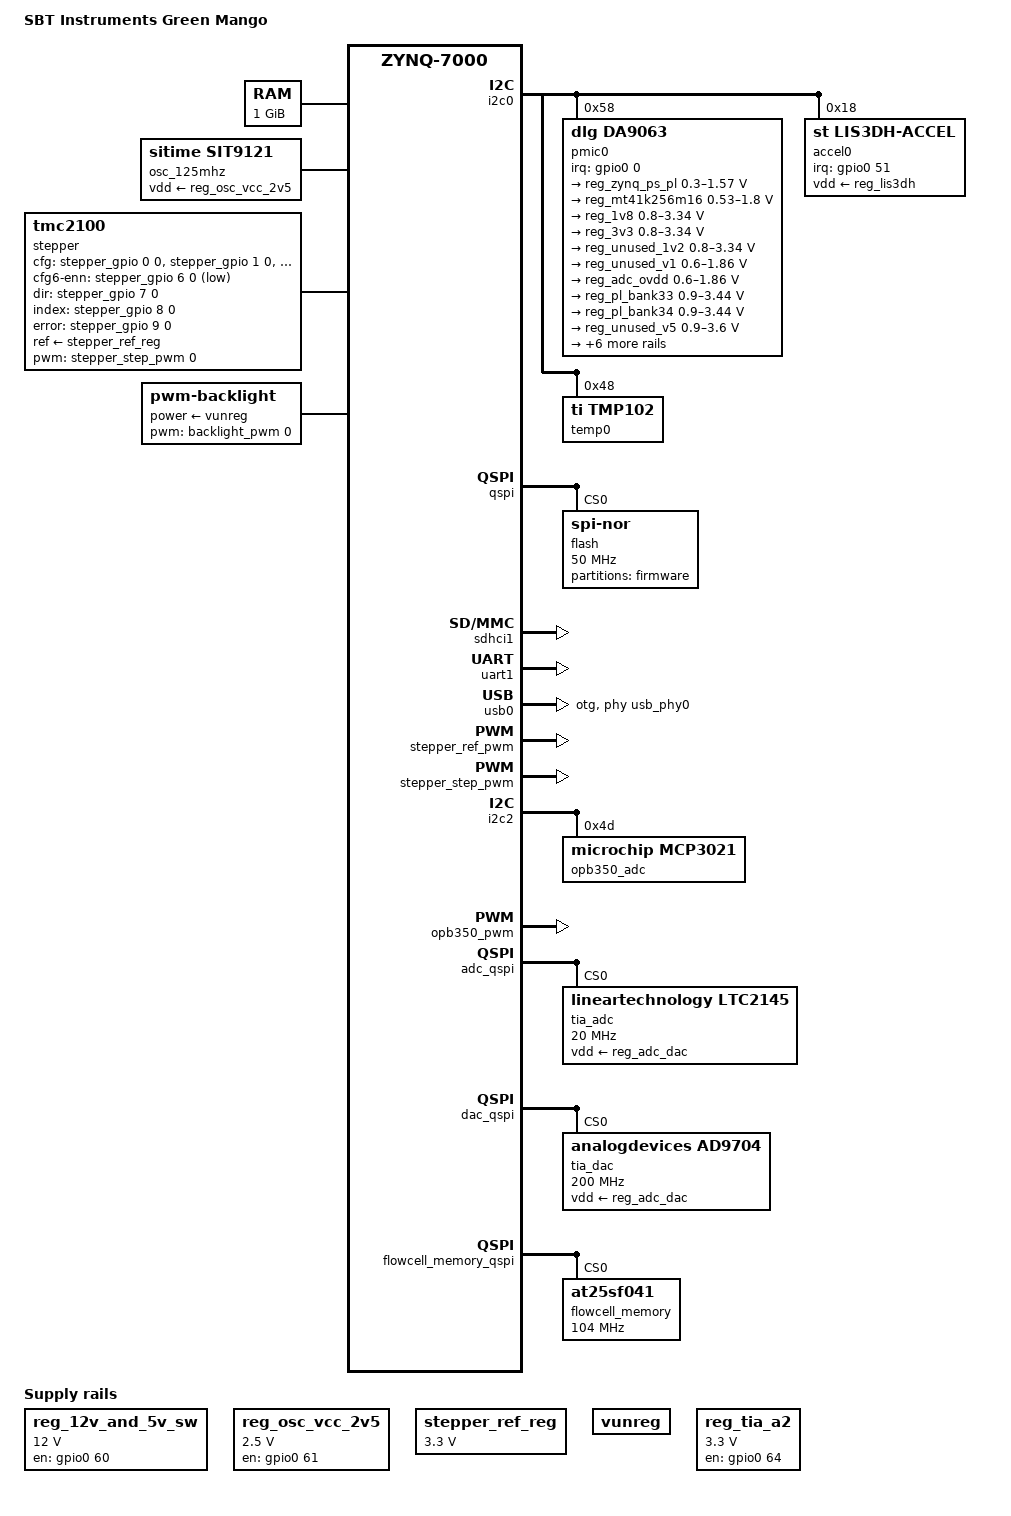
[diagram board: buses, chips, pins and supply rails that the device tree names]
/* SPDX-License-Identifier: GPL-2.0-or-later */
/*
 *	Copyright (C) 2019 Frederik Peter Aalund <fpa@sbtinstruments.com>
 *
 *	Based on zynq-zed.dts which is:
 *	Copyright (C) 2011 - 2015 Xilinx
 *	Copyright (C) 2012 National Instruments Corp.
 */
/dts-v1/;
#include <dt-bindings/gpio/gpio.h>
#include <dt-bindings/interrupt-controller/irq.h>
#include "zynq-7000.dtsi"

/ {
	model = "SBT Instruments Green Mango";
	compatible = "sbt,green-mango", "xlnx,zynq-7000";

	aliases {
		i2c0 = &i2c0;
		i2c2 = &i2c2;
		serial0 = &uart1;
		spi0 = &qspi;
		spi1 = &spi1;
		mmc0 = &sdhci1;
	};

	memory@0 {
		device_type = "memory";
		reg = <0x0 0x40000000>;
	};

	chosen {
		bootargs = "";
		stdout-path = "serial0:115200n8";
	};

	usb_phy0: phy0@e0002000 {
		compatible = "ulpi-phy";
		#phy-cells = <0>;
		reg = <0xe0002000 0x1000>;
		view-port = <0x0170>;
		drv-vbus;
	};
};

&clkc {
	ps-clk-frequency = <33333333>;
};

&i2c0 {
	pmic0: da9063@58 {
		compatible = "dlg,da9063";
		reg = <0x58>;
		interrupt-parent = <&gpio0>;
		interrupts = <0 IRQ_TYPE_LEVEL_LOW>;
		interrupt-controller;
		wakeup-source;
		system-power-controller;
		onkey {
			compatible = "dlg,da9063-onkey";
		};
		rtc {
			compatible = "dlg,da9063-rtc";
		};
		wdt {
			compatible = "dlg,da9063-watchdog";
		};
		gpio {
			compatible = "dlg,da9063-gpio";
			gpio-controller;
			#gpio-cells = <2>;
		};
		regulators {
			reg_zynq_ps_pl: bcores-merged {
				regulator-name = "reg_zynq_ps_pl";
				regulator-min-microvolt = <300000>;
				regulator-max-microvolt = <1570000>;
				regulator-min-microamp = <500000>;
				regulator-max-microamp = <2000000>;
				regulator-boot-on;
				regulator-always-on;
				regulator-state-mem {
					regulator-on-in-suspend;
				};
			};
			reg_mt41k256m16: bpro {
				regulator-name = "reg_mt41k256m16";
				regulator-min-microvolt = <530000>;
				regulator-max-microvolt = <1800000>;
				regulator-min-microamp = <500000>;
				regulator-max-microamp = <2000000>;
				regulator-boot-on;
				regulator-always-on;
				regulator-state-mem {
					regulator-on-in-suspend;
				};
			};
			reg_1v8: bmem {
				regulator-name = "reg_1v8";
				regulator-min-microvolt = <800000>;
				regulator-max-microvolt = <3340000>;
				regulator-min-microamp = <1500000>;
				regulator-max-microamp = <3000000>;
				regulator-boot-on;
				regulator-always-on;
				regulator-state-mem {
					regulator-on-in-suspend;
				};
			};
			reg_3v3: bio {
				regulator-name = "reg_3v3";
				regulator-min-microvolt = <800000>;
				regulator-max-microvolt = <3340000>;
				regulator-min-microamp = <1500000>;
				regulator-max-microamp = <3000000>;
				regulator-boot-on;
				regulator-always-on;
				regulator-state-mem {
					regulator-on-in-suspend;
				};
			};
			reg_unused_1v2: bperi {
				regulator-name = "reg_unused_1v2";
				regulator-min-microvolt = <800000>;
				regulator-max-microvolt = <3340000>;
				regulator-min-microamp = <1500000>;
				regulator-max-microamp = <3000000>;
				regulator-boot-on;
				regulator-state-mem {
					regulator-off-in-suspend;
				};
			};
			reg_unused_v1: ldo1 {
				regulator-name = "reg_unused_v1";
				regulator-min-microvolt = <600000>;
				regulator-max-microvolt = <1860000>;
				regulator-boot-on;
				regulator-state-mem {
					regulator-off-in-suspend;
				};
			};
			reg_adc_ovdd: ldo2 {
				regulator-name = "reg_adc_ovdd";
				regulator-min-microvolt = <600000>;
				regulator-max-microvolt = <1860000>;
				regulator-boot-on;
				regulator-always-on; /* TODO: Link to ADC instead */
				regulator-state-mem {
					regulator-off-in-suspend;
				};
			};
			reg_pl_bank33: ldo3 {
				regulator-name = "reg_pl_bank33";
				regulator-min-microvolt = <900000>;
				regulator-max-microvolt = <3440000>;
				regulator-boot-on;
				regulator-always-on; /* Enable in overlay instead when PL is in use */
				regulator-state-mem {
					regulator-off-in-suspend;
				};
			};
			reg_pl_bank34: ldo4 {
				regulator-name = "reg_pl_bank34";
				regulator-min-microvolt = <900000>;
				regulator-max-microvolt = <3440000>;
				regulator-boot-on;
				regulator-always-on; /* Enable in overlay instead when PL is in use */
				regulator-state-mem {
					regulator-off-in-suspend;
				};
			};
			reg_unused_v5: ldo5 {
				regulator-name = "reg_unused_v5";
				regulator-min-microvolt = <900000>;
				regulator-max-microvolt = <3600000>;
				regulator-boot-on;
				regulator-state-mem {
					regulator-off-in-suspend;
				};
			};
			reg_unused_v6a: ldo6 {
				regulator-name = "reg_unused_v6a";
				regulator-min-microvolt = <900000>;
				regulator-max-microvolt = <3600000>;
				regulator-boot-on;
				regulator-state-mem {
					regulator-off-in-suspend;
				};
			};
			reg_lis3dh: ldo7 {
				regulator-name = "reg_lis3dh";
				regulator-min-microvolt = <900000>;
				regulator-max-microvolt = <3600000>;
				regulator-boot-on;
				regulator-state-mem {
					regulator-off-in-suspend;
				};
			};
			reg_unused_v8: ldo8 {
				regulator-name = "reg_unused_v8";
				regulator-min-microvolt = <900000>;
				regulator-max-microvolt = <3600000>;
				regulator-boot-on;
				regulator-state-mem {
					regulator-off-in-suspend;
				};
			};
			reg_zynq_adc0: ldo9 {
				regulator-name = "reg_zynq_adc0";
				regulator-min-microvolt = <950000>;
				regulator-max-microvolt = <3600000>;
				regulator-boot-on;
				regulator-always-on; /* We use it for temperature and voltage readings */
				regulator-state-mem {
					regulator-off-in-suspend;
				};
			};
			reg_adc_dac: ldo10 {
				regulator-name = "reg_adc_dac";
				regulator-min-microvolt = <900000>;
				regulator-max-microvolt = <3600000>;
				regulator-boot-on;
				regulator-always-on; /* Work-around to power management issue that causes a phase shift */
				regulator-state-mem {
					regulator-off-in-suspend;
				};
			};
			reg_pl_bank35: ldo11 {
				regulator-name = "reg_pl_bank35";
				regulator-min-microvolt = <900000>;
				regulator-max-microvolt = <3600000>;
				regulator-boot-on;
				regulator-always-on; /* Enable in overlay instead when PL is in use */
				regulator-state-mem {
					regulator-off-in-suspend;
				};
			};
		};
	};
	// Consumes less than 0.1 W
	accel0: lis3dh@18 {
		compatible = "st,lis3dh-accel";
		reg = <0x18>;
		st,drdy-int-pin = <1>;
		interrupt-parent = <&gpio0>;
		interrupts = <51 IRQ_TYPE_EDGE_RISING>;
		vdd-supply = <&reg_lis3dh>;
	};
	temp0: tmp102@48 {
		compatible = "ti,tmp102";
		reg = <0x48>;
	};
};

&qspi {
	u-boot,dm-pre-reloc;
	status = "okay";
	is-dual = <0>;
	num-cs = <1>;
	flash@0 {
		compatible = "jedec,spi-nor";
		reg = <0x0>;
		spi-tx-bus-width = <1>;
		spi-rx-bus-width = <4>;
		spi-max-frequency = <50000000>;
		#address-cells = <1>;
		#size-cells = <1>;
		partition0@0 {
			label = "firmware";
			reg = <0x0 0x1000000>;
		};
	};
};

&sdhci1 {
	u-boot,dm-pre-reloc;
	status = "okay";
};

&uart1 {
	u-boot,dm-pre-reloc;
	status = "okay";
};

&usb0 {
	status = "okay";
	dr_mode = "otg";
	usb-phy = <&usb_phy0>;
};

&gpio0 {
	emio-gpio-width = <11>;
	gpio-mask-high = <0x0>;
	gpio-mask-low = <0x5600>;
};

&i2c0 {
	status = "okay";
};

&intc {
	num_cpus = <2>;
	num_interrupts = <96>;
};

&amba {
	reg_12v_and_5v_sw: regulator-12v-and-5v-sw {
		compatible = "regulator-fixed";
		regulator-name = "12v-and-5v-sw";
		regulator-min-microvolt = <12000000>;
		regulator-max-microvolt = <12000000>;
		gpio = <&gpio0 60 GPIO_ACTIVE_HIGH>;
		startup-delay-us = <100000>; // Arbitrary
		enable-active-high;
		regulator-state-mem {
			regulator-off-in-suspend;
		};
	};

	reg_osc_vcc_2v5: regulator-osc-vcc-2v5 {
		compatible = "regulator-fixed";
		regulator-name = "osc-vcc-2v5";
		regulator-min-microvolt = <2500000>;
		regulator-max-microvolt = <2500000>;
		gpio = <&gpio0 61 GPIO_ACTIVE_HIGH>;
		startup-delay-us = <100000>; // Arbitrary
		enable-active-high;
		/* This regulator powers the 125 MHz oscillator that is used for
		 * many FPGA-related operations. For now, we choose to simply
		 * enable it indefinitely. With time, we can change this and
		 * instead use runtime power management features to toggle the
		 * regulator on and off as necessary.
		 */
		regulator-always-on;
		regulator-state-mem {
			regulator-off-in-suspend;
		};
	};

	osc_125mhz: oscillator-125mhz {
		compatible = "sitime,sit9121";
		#clock-cells = <0>;
		clock-frequency = <125000000>;
		clock-output-names = "osc125mhz";
		vdd-supply = <&reg_osc_vcc_2v5>;
	};

	stepper_gpio: gpio@41200000 {
		#gpio-cells = <3>;
		clock-names = "s_axi_aclk";
		clocks = <&clkc 15>;
		compatible = "xlnx,axi-gpio-2.0", "xlnx,xps-gpio-1.00.a";
		gpio-controller ;
		reg = <0x41200000 0x10000>;
		xlnx,all-inputs = <0x0>;
		xlnx,all-inputs-2 = <0x0>;
		xlnx,all-outputs = <0x0>;
		xlnx,all-outputs-2 = <0x0>;
		xlnx,dout-default = <0x00000000>;
		xlnx,dout-default-2 = <0x00000000>;
		xlnx,gpio-width = <0xb>;
		xlnx,gpio2-width = <0x20>;
		xlnx,interrupt-present = <0x0>;
		xlnx,is-dual = <0x0>;
		xlnx,tri-default = <0xFFFFFFFF>;
		xlnx,tri-default-2 = <0xFFFFFFFF>;
	};
	stepper_ref_pwm: timer@42820000 {
		#pwm-cells = <2>;
		clock-frequency = <100000000>;
		clock-names = "s_axi_aclk";
		clocks = <&clkc 15>;
		compatible = "xlnx,pwm-xlnx";
		interrupt-names = "interrupt";
		interrupt-parent = <&intc>;
		interrupts = <0 34 4>;
		reg = <0x42820000 0x10000>;
		xlnx,count-width = <0x20>;
		xlnx,gen0-assert = <0x1>;
		xlnx,gen1-assert = <0x1>;
		xlnx,one-timer-only = <0x0>;
		xlnx,trig0-assert = <0x1>;
		xlnx,trig1-assert = <0x1>;
	};
	stepper_step_pwm: timer@42830000 {
		#pwm-cells = <2>;
		clock-frequency = <100000000>;
		clock-names = "s_axi_aclk";
		clocks = <&clkc 15>;
		compatible = "xlnx,pwm-xlnx";
		interrupt-names = "interrupt";
		interrupt-parent = <&intc>;
		interrupts = <0 33 4>;
		reg = <0x42830000 0x10000>;
		xlnx,count-width = <0x20>;
		xlnx,gen0-assert = <0x1>;
		xlnx,gen1-assert = <0x1>;
		xlnx,one-timer-only = <0x0>;
		xlnx,trig0-assert = <0x1>;
		xlnx,trig1-assert = <0x1>;
	};

	stepper_ref_reg: regulator@stepper_step_pwm {
		compatible = "pwm-regulator";
		pwms = <&stepper_ref_pwm 0 10000>; // 100 KHz
		regulator-min-microvolt = <0>;
		regulator-max-microvolt = <3300000>;
		regulator-name = "stepper_ref";
	};

	stepper {
		compatible = "tmc2100";
		cfg-gpios = <&stepper_gpio 0 0 GPIO_ACTIVE_HIGH>,
		            <&stepper_gpio 1 0 GPIO_ACTIVE_HIGH>,
		            <&stepper_gpio 2 0 GPIO_ACTIVE_HIGH>,
		            <&stepper_gpio 3 0 GPIO_ACTIVE_HIGH>,
		            <&stepper_gpio 4 0 GPIO_ACTIVE_HIGH>,
		            <&stepper_gpio 5 0 GPIO_ACTIVE_HIGH>;
		cfg6-enn-gpios = <&stepper_gpio 6 0 GPIO_ACTIVE_LOW>;
		dir-gpios = <&stepper_gpio 7 0 GPIO_ACTIVE_HIGH>;
		index-gpios = <&stepper_gpio 8 0 GPIO_ACTIVE_HIGH>;
		error-gpios = <&stepper_gpio 9 0 GPIO_ACTIVE_HIGH>;
		/* 1 Hz is just so that Linux doesn't complain on initialization. The
		 * actual frequency is set by the driver. */
		pwms = <&stepper_step_pwm 0 1>;
		pwm-names = "step";
		ref-supply = <&stepper_ref_reg>;
		cfg3 = "open"; /* Use external sense resistor. Scale current via ref-voltage. */
		ref-voltage = <1700>; /* Must be between 500 and 2500 mV. */
	};

	/* The liquid sensor (OPB350) consists of:
	 *	 1. An emitter (a PWM-controlled LED)
	 *	 2. A receiver (an ADC-controlled phototransistor)
	 * Note that we only declare nodes for the abovementioned
	 * devices (PWM and ADC) and not for the liquid sensor
	 * itself. This is because the liquid sensor driver is
	 * implemented in a user-space process. The reasons for
	 * this include:
	 *	 1. The PWM is a hwmon-device and therefore doesn't
	 *		have a kernel API for configuring. Consequently,
	 *		we can't configure the PWM from another driver.
	 *	 2. It is faster to develop the driver in user space.
	 */
	i2c2: i2c@41600000 {
		#address-cells = <1>;
		#size-cells = <0>;
		clock-names = "s_axi_aclk"; // TODO: Is this clock name correct? Check what the driver actually expects. This may affect other 's_axi_aclk' nodes.
		clocks = <&clkc 15>;
		compatible = "xlnx,axi-iic-2.0", "xlnx,xps-iic-2.00.a";
		interrupt-names = "iic2intc_irpt";
		interrupt-parent = <&intc>;
		interrupts = <0 31 4>;
		reg = <0x41600000 0x10000>;

		opb350_adc: mcp3021@4d {
			compatible = "microchip,mcp3021";
			reg = <0x4d>;
			reference-voltage-microvolt = <3300000>; /* 3.3 V */
		};
	};
	opb350_pwm: timer@42810000 {
		#pwm-cells = <2>;
		clock-frequency = <100000000>;
		clock-names = "s_axi_aclk";
		clocks = <&clkc 15>;
		compatible = "xlnx,pwm-xlnx";
		interrupt-names = "interrupt";
		interrupt-parent = <&intc>;
		interrupts = <0 35 4>;
		reg = <0x42810000 0x10000>;
		xlnx,count-width = <0x20>;
		xlnx,gen0-assert = <0x1>;
		xlnx,gen1-assert = <0x1>;
		xlnx,one-timer-only = <0x0>;
		xlnx,trig0-assert = <0x1>;
		xlnx,trig1-assert = <0x1>;
	};

	lia_gpio: gpio@41220000 {
		#gpio-cells = <3>;
		clock-names = "s_axi_aclk";
		clocks = <&clkc 15>;
		compatible = "xlnx,axi-gpio-2.0", "xlnx,xps-gpio-1.00.a";
		gpio-controller ;
		reg = <0x41220000 0x10000>;
		xlnx,all-inputs = <0x0>;
		xlnx,all-inputs-2 = <0x0>;
		xlnx,all-outputs = <0x0>;
		xlnx,all-outputs-2 = <0x0>;
		xlnx,dout-default = <0x00000000>;
		xlnx,dout-default-2 = <0x00000000>;
		xlnx,gpio-width = <0x1>;
		xlnx,gpio2-width = <0x20>;
		xlnx,interrupt-present = <0x0>;
		xlnx,is-dual = <0x0>;
		xlnx,tri-default = <0xFFFFFFFF>;
		xlnx,tri-default-2 = <0xFFFFFFFF>;
	};

	adc_qspi: axi_quad_spi@41e10000 {
		#address-cells = <1>;
		#size-cells = <0>;
		bits-per-word = <8>;
		clock-names = "spi_clk", "axi_clk";
		clocks = <&clkc 15>, <&clkc 15>;
		compatible = "xlnx,axi-quad-spi-3.2", "xlnx,xps-spi-2.00.a";
		fifo-size = <16>;
		interrupt-names = "ip2intc_irpt";
		interrupt-parent = <&intc>;
		interrupts = <0 29 1>;
		num-cs = <0x1>;
		reg = <0x41e10000 0x10000>;
		xlnx,num-ss-bits = <0x1>;
		xlnx,spi-mode = <0>;

		tia_adc: ltc2145@0 {
			#io-channel-cells = <1>;
			reg = <0>;
			compatible = "lineartechnology,ltc2145";
			spi-max-frequency = <20000000>;
			clocks = <&osc_125mhz>;
			clock-names = "enc";
			vdd-supply = <&reg_adc_dac>;
			twos-complement;
			// power-control = "channel2-nap";
			// alternate-bit-polarity;
			// output-randomizer;
			// test-pattern = "alternating";
		};
	};

	dac_qspi: axi_quad_spi@41e00000 {
		#address-cells = <1>;
		#size-cells = <0>;
		bits-per-word = <8>;
		clock-names = "spi_clk", "axi_clk";
		clocks = <&clkc 15>, <&clkc 15>;
		compatible = "xlnx,axi-quad-spi-3.2", "xlnx,xps-spi-2.00.a";
		fifo-size = <16>;
		interrupt-names = "ip2intc_irpt";
		interrupt-parent = <&intc>;
		interrupts = <0 30 1>;
		num-cs = <0x1>;
		reg = <0x41e00000 0x10000>;
		xlnx,num-ss-bits = <0x1>;
		xlnx,spi-mode = <0>;

		tia_dac: ad9704@0 {
			#io-channel-cells = <1>;
			compatible = "analogdevices,ad9704";
			reg = <0>;
			spi-max-frequency = <200000000>;
			clocks = <&osc_125mhz>;
			clock-names = "clk";
			vdd-supply = <&reg_adc_dac>;
			twos-complement;
			calibrate-on-init;
		};
	};

	lockamp: lockamp@43c00000 {
		compatible = "sbt,lockamp";
		reg = <0x43c00000 0x10000>;
		reg-names = "lockamp-control";
		reset-gpios = <&lia_gpio 0 0 GPIO_ACTIVE_HIGH>;
		io-channels = <&tia_adc 0>,
		              <&tia_adc 1>,
		              <&tia_dac 0>,
		              <&tia_dac 1>;
		io-channel-names = "adc-site0",
		                   "adc-site1",
		                   "dac-site0",
		                   "dac-site1";
		amp-supply = <&reg_12v_and_5v_sw>;
	};

	flowcell_memory_qspi: axi_quad_spi@41E40000 {
		#address-cells = <1>;
		#size-cells = <0>;
		bits-per-word = <8>;
		clock-names = "spi_clk", "axi_clk";
		clocks = <&clkc 15>, <&clkc 15>;
		compatible = "xlnx,axi-quad-spi-3.2", "xlnx,xps-spi-2.00.a";
		fifo-size = <16>;
		interrupt-names = "ip2intc_irpt";
		interrupt-parent = <&intc>;
		interrupts = <0 36 1>;
		num-cs = <0x1>;
		reg = <0x41E40000 0x10000>;
		xlnx,num-ss-bits = <0x1>;
		xlnx,spi-mode = <0>;

		flowcell_memory: at25sf041@0 {
			compatible = "at25sf041";
			reg = <0x0>;
			spi-max-frequency = <104000000>;
		};
	};

	backlight_pwm: timer@42800000 {
		#pwm-cells = <2>;
		clock-frequency = <100000000>;
		clock-names = "s_axi_aclk";
		clocks = <&clkc 15>;
		compatible = "xlnx,pwm-xlnx";
		interrupt-names = "interrupt";
		interrupt-parent = <&intc>;
		interrupts = <0 32 4>;
		reg = <0x42800000 0x10000>;
		xlnx,count-width = <0x10>;
		xlnx,gen0-assert = <0x1>;
		xlnx,gen1-assert = <0x1>;
		xlnx,one-timer-only = <0x0>;
		xlnx,trig0-assert = <0x1>;
		xlnx,trig1-assert = <0x1>;
	};

	vunreg: regulator-vunreg {
		compatible = "regulator-fixed";
		regulator-name = "vunreg";
	};

	backlight: backlight {
		compatible = "pwm-backlight";
		pwms = <&backlight_pwm 0 20000>;
		pwm-names = "backlight";
		power-supply = <&vunreg>;
		brightness-levels = <0 255>;
		default-brightness-level = <255>;
		num-interpolated-steps = <255>;
	};

	/* HACK: This regulator will be automatically disabled during Linux boot.
	 * This will pull the GPIO down. In turn, this will enable the TIA, which
	 * is what we want */
	reg_tia_a2: regulator-tia-a2 {
		compatible = "regulator-fixed";
		regulator-name = "tia-a2";
		regulator-min-microvolt = <3300000>;
		regulator-max-microvolt = <3300000>;
		gpio = <&gpio0 64 GPIO_ACTIVE_HIGH>;
		startup-delay-us = <100000>; // Arbitrary
		enable-active-high;
		regulator-state-mem {
			regulator-off-in-suspend;
		};
	};
};
